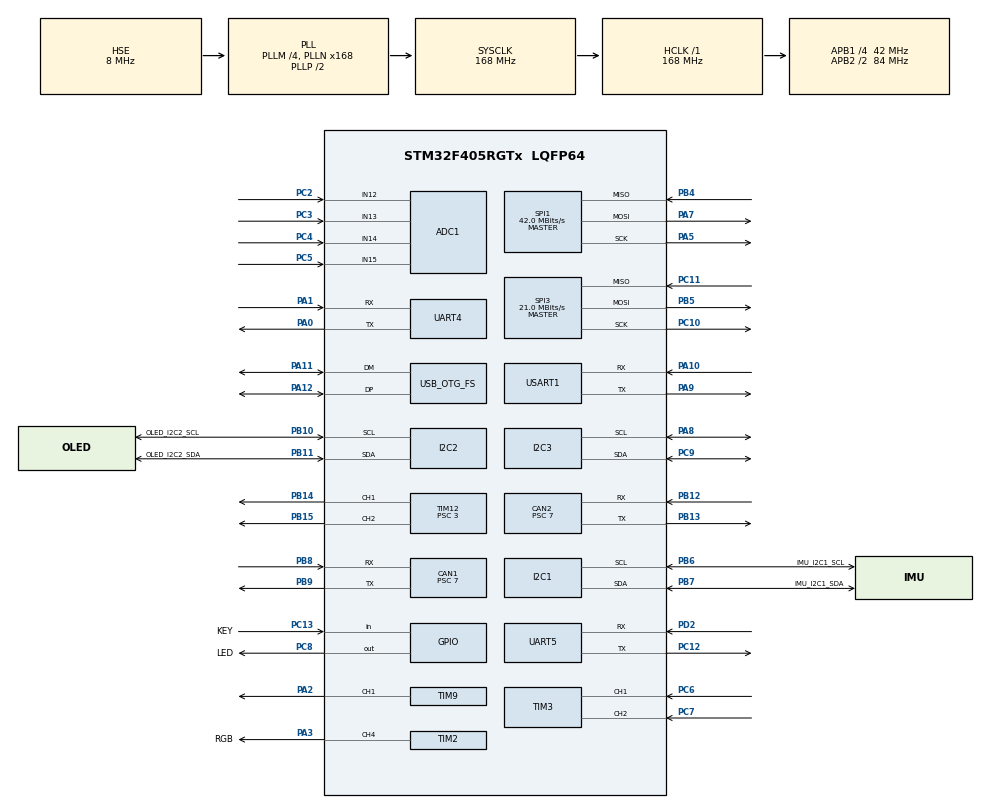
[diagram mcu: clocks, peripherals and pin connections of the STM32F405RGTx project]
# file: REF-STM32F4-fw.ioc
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ADC1.Channel-3\#ChannelRegularConversion=ADC_CHANNEL_12
ADC1.Channel-4\#ChannelRegularConversion=ADC_CHANNEL_13
ADC1.Channel-5\#ChannelRegularConversion=ADC_CHANNEL_14
ADC1.Channel-6\#ChannelRegularConversion=ADC_CHANNEL_15
ADC1.Channel-7\#ChannelRegularConversion=ADC_CHANNEL_TEMPSENSOR
ADC1.Channel-9\#ChannelRegularConversion=ADC_CHANNEL_VREFINT
ADC1.ContinuousConvMode=ENABLE
ADC1.DMAContinuousRequests=ENABLE
ADC1.InjNumberOfConversion=0
ADC1.NbrOfConversion=6
ADC1.NbrOfConversionFlag=1
ADC1.Rank-3\#ChannelRegularConversion=1
ADC1.Rank-4\#ChannelRegularConversion=2
ADC1.Rank-5\#ChannelRegularConversion=3
ADC1.Rank-6\#ChannelRegularConversion=4
ADC1.Rank-7\#ChannelRegularConversion=5
ADC1.Rank-9\#ChannelRegularConversion=6
ADC1.SamplingTime-3\#ChannelRegularConversion=ADC_SAMPLETIME_28CYCLES
ADC1.SamplingTime-4\#ChannelRegularConversion=ADC_SAMPLETIME_28CYCLES
ADC1.SamplingTime-5\#ChannelRegularConversion=ADC_SAMPLETIME_28CYCLES
ADC1.SamplingTime-6\#ChannelRegularConversion=ADC_SAMPLETIME_28CYCLES
ADC1.SamplingTime-7\#ChannelRegularConversion=ADC_SAMPLETIME_28CYCLES
ADC1.SamplingTime-9\#ChannelRegularConversion=ADC_SAMPLETIME_28CYCLES
ADC1.ScanConvMode=ENABLE
ADC1.master=1
CAN1.AWUM=ENABLE
CAN1.BS1=CAN_BS1_3TQ
CAN1.BS2=CAN_BS2_2TQ
CAN1.CalculateBaudRate=1000000
CAN1.CalculateTimeBit=999.99
CAN1.CalculateTimeQuantum=166.66666666666669
CAN1.Prescaler=7
CAN1.TXFP=ENABLE
CAN2.AWUM=ENABLE
CAN2.BS1=CAN_BS1_3TQ
CAN2.BS2=CAN_BS2_2TQ
CAN2.CalculateBaudRate=1000000
CAN2.CalculateTimeBit=999.99
CAN2.CalculateTimeQuantum=166.66666666666669
CAN2.Prescaler=7
Dma.ADC1.2.Direction=DMA_PERIPH_TO_MEMORY
Dma.ADC1.2.FIFOMode=DMA_FIFOMODE_DISABLE
Dma.ADC1.2.Instance=DMA2_Stream0
Dma.ADC1.2.MemDataAlignment=DMA_MDATAALIGN_HALFWORD
Dma.ADC1.2.MemInc=DMA_MINC_ENABLE
Dma.ADC1.2.Mode=DMA_CIRCULAR
Dma.ADC1.2.PeriphDataAlignment=DMA_PDATAALIGN_HALFWORD
Dma.ADC1.2.PeriphInc=DMA_PINC_DISABLE
Dma.ADC1.2.Priority=DMA_PRIORITY_LOW
Dma.Request0=UART4_RX
Dma.Request1=UART4_TX
Dma.Request2=ADC1
Dma.Request3=UART5_RX
Dma.Request4=UART5_TX
Dma.Request5=TIM2_CH2/CH4
Dma.TIM2_CH2/CH4.5.Direction=DMA_MEMORY_TO_PERIPH
Dma.TIM2_CH2/CH4.5.FIFOMode=DMA_FIFOMODE_DISABLE
Dma.TIM2_CH2/CH4.5.Instance=DMA1_Stream6
Dma.TIM2_CH2/CH4.5.MemDataAlignment=DMA_MDATAALIGN_WORD
Dma.TIM2_CH2/CH4.5.MemInc=DMA_MINC_ENABLE
Dma.TIM2_CH2/CH4.5.Mode=DMA_NORMAL
Dma.TIM2_CH2/CH4.5.PeriphDataAlignment=DMA_PDATAALIGN_WORD
Dma.TIM2_CH2/CH4.5.PeriphInc=DMA_PINC_DISABLE
Dma.TIM2_CH2/CH4.5.Priority=DMA_PRIORITY_LOW
Dma.UART4_RX.0.Direction=DMA_PERIPH_TO_MEMORY
Dma.UART4_RX.0.FIFOMode=DMA_FIFOMODE_DISABLE
Dma.UART4_RX.0.Instance=DMA1_Stream2
Dma.UART4_RX.0.MemDataAlignment=DMA_MDATAALIGN_BYTE
Dma.UART4_RX.0.MemInc=DMA_MINC_ENABLE
Dma.UART4_RX.0.Mode=DMA_CIRCULAR
Dma.UART4_RX.0.PeriphDataAlignment=DMA_PDATAALIGN_BYTE
Dma.UART4_RX.0.PeriphInc=DMA_PINC_DISABLE
Dma.UART4_RX.0.Priority=DMA_PRIORITY_LOW
Dma.UART4_TX.1.Direction=DMA_MEMORY_TO_PERIPH
Dma.UART4_TX.1.FIFOMode=DMA_FIFOMODE_DISABLE
Dma.UART4_TX.1.Instance=DMA1_Stream4
Dma.UART4_TX.1.MemDataAlignment=DMA_MDATAALIGN_BYTE
Dma.UART4_TX.1.MemInc=DMA_MINC_ENABLE
Dma.UART4_TX.1.Mode=DMA_NORMAL
Dma.UART4_TX.1.PeriphDataAlignment=DMA_PDATAALIGN_BYTE
Dma.UART4_TX.1.PeriphInc=DMA_PINC_DISABLE
Dma.UART4_TX.1.Priority=DMA_PRIORITY_LOW
Dma.UART5_RX.3.Direction=DMA_PERIPH_TO_MEMORY
Dma.UART5_RX.3.FIFOMode=DMA_FIFOMODE_DISABLE
Dma.UART5_RX.3.Instance=DMA1_Stream0
Dma.UART5_RX.3.MemDataAlignment=DMA_MDATAALIGN_BYTE
Dma.UART5_RX.3.MemInc=DMA_MINC_ENABLE
Dma.UART5_RX.3.Mode=DMA_CIRCULAR
Dma.UART5_RX.3.PeriphDataAlignment=DMA_PDATAALIGN_BYTE
Dma.UART5_RX.3.PeriphInc=DMA_PINC_DISABLE
Dma.UART5_RX.3.Priority=DMA_PRIORITY_LOW
Dma.UART5_TX.4.Direction=DMA_MEMORY_TO_PERIPH
Dma.UART5_TX.4.FIFOMode=DMA_FIFOMODE_DISABLE
Dma.UART5_TX.4.Instance=DMA1_Stream7
Dma.UART5_TX.4.MemDataAlignment=DMA_MDATAALIGN_BYTE
Dma.UART5_TX.4.MemInc=DMA_MINC_ENABLE
Dma.UART5_TX.4.Mode=DMA_NORMAL
Dma.UART5_TX.4.PeriphDataAlignment=DMA_PDATAALIGN_BYTE
Dma.UART5_TX.4.PeriphInc=DMA_PINC_DISABLE
Dma.UART5_TX.4.Priority=DMA_PRIORITY_LOW
FREERTOS.Tasks01=defaultTask,24,500,StartDefaultTask,Default,NULL,Dynamic,NULL,NULL
FREERTOS.configENABLE_FPU=1
FREERTOS.configTOTAL_HEAP_SIZE=65536
FREERTOS.configUSE_APPLICATION_TASK_TAG=0
FREERTOS.configUSE_PREEMPTION=1
FREERTOS.configUSE_TRACE_FACILITY=1
I2C1.I2C_Mode=I2C_Fast
I2C2.I2C_Mode=I2C_Fast
I2C3.I2C_Mode=I2C_Fast
Mcu.Family=STM32F4
Mcu.Name=STM32F405RGTx
Mcu.Package=LQFP64
NVIC.ADC_IRQn=true\:5\:0\:false\:false\:true\:true\:true\:true
NVIC.CAN1_RX0_IRQn=true\:5\:0\:true\:false\:true\:true\:true\:true
NVIC.CAN1_RX1_IRQn=true\:5\:0\:true\:false\:true\:true\:true\:true
NVIC.CAN1_SCE_IRQn=true\:5\:0\:true\:false\:true\:true\:true\:true
NVIC.CAN1_TX_IRQn=true\:5\:0\:true\:false\:true\:true\:true\:true
NVIC.CAN2_RX0_IRQn=true\:5\:0\:true\:false\:true\:true\:true\:true
NVIC.CAN2_RX1_IRQn=true\:5\:0\:true\:false\:true\:true\:true\:true
NVIC.CAN2_SCE_IRQn=true\:5\:0\:true\:false\:true\:true\:true\:true
NVIC.CAN2_TX_IRQn=true\:5\:0\:true\:false\:true\:true\:true\:true
NVIC.DMA1_Stream0_IRQn=true\:6\:0\:true\:false\:true\:true\:false\:true
NVIC.DMA1_Stream2_IRQn=true\:6\:0\:true\:false\:true\:true\:false\:true
NVIC.DMA1_Stream4_IRQn=true\:6\:0\:true\:false\:true\:true\:false\:true
NVIC.DMA1_Stream6_IRQn=true\:5\:0\:false\:false\:true\:true\:false\:true
NVIC.DMA1_Stream7_IRQn=true\:6\:0\:true\:false\:true\:true\:false\:true
NVIC.DMA2_Stream0_IRQn=true\:5\:0\:false\:false\:true\:true\:false\:true
NVIC.OTG_FS_IRQn=true\:6\:0\:true\:false\:true\:true\:false\:true
NVIC.PriorityGroup=NVIC_PRIORITYGROUP_4
NVIC.SPI3_IRQn=true\:5\:0\:false\:false\:true\:true\:true\:true
NVIC.TIM1_TRG_COM_TIM11_IRQn=true\:5\:0\:false\:false\:true\:true\:true\:true
NVIC.TIM1_UP_TIM10_IRQn=true\:5\:0\:false\:false\:true\:true\:true\:true
NVIC.TIM2_IRQn=true\:5\:0\:true\:false\:true\:true\:true\:true
NVIC.TIM3_IRQn=true\:5\:0\:true\:false\:true\:true\:true\:true
NVIC.TIM6_DAC_IRQn=true\:0\:0\:false\:false\:true\:false\:false\:true
NVIC.TIM7_IRQn=true\:5\:0\:false\:false\:true\:true\:true\:true
NVIC.TIM8_TRG_COM_TIM14_IRQn=true\:5\:0\:false\:false\:true\:true\:true\:true
NVIC.TIM8_UP_TIM13_IRQn=true\:5\:0\:false\:false\:true\:true\:true\:true
NVIC.TimeBase=TIM6_DAC_IRQn
NVIC.TimeBaseIP=TIM6
NVIC.UART4_IRQn=true\:6\:0\:true\:false\:true\:true\:true\:true
NVIC.UART5_IRQn=true\:6\:0\:true\:false\:true\:true\:true\:true
PA0-WKUP.Mode=Asynchronous
PA0-WKUP.Signal=UART4_TX
PA1.Mode=Asynchronous
PA1.Signal=UART4_RX
PA10.Mode=Asynchronous
PA10.Signal=USART1_RX
PA11.Mode=Device_Only
PA11.Signal=USB_OTG_FS_DM
PA12.Mode=Device_Only
PA12.Signal=USB_OTG_FS_DP
PA13.Mode=Serial_Wire
PA13.Signal=SYS_JTMS-SWDIO
PA14.Mode=Serial_Wire
PA14.Signal=SYS_JTCK-SWCLK
PA2.Signal=S_TIM9_CH1
PA3.GPIO_Label=RGB
PA3.GPIO_Speed=GPIO_SPEED_FREQ_VERY_HIGH
PA3.Signal=S_TIM2_CH4
PA5.Mode=Full_Duplex_Master
PA5.Signal=SPI1_SCK
PA7.Mode=Full_Duplex_Master
PA7.Signal=SPI1_MOSI
PA8.Mode=I2C
PA8.Signal=I2C3_SCL
PA9.Mode=Asynchronous
PA9.Signal=USART1_TX
PB10.GPIO_Label=OLED_I2C2_SCL
PB10.Mode=I2C
PB10.Signal=I2C2_SCL
PB11.GPIO_Label=OLED_I2C2_SDA
PB11.Mode=I2C
PB11.Signal=I2C2_SDA
PB12.GPIO_PuPd=GPIO_PULLUP
PB12.Mode=CAN_Activate
PB12.Signal=CAN2_RX
PB13.Mode=CAN_Activate
PB13.Signal=CAN2_TX
PB14.Signal=S_TIM12_CH1
PB15.Signal=S_TIM12_CH2
PB4.Mode=Full_Duplex_Master
PB4.Signal=SPI1_MISO
PB5.Mode=Full_Duplex_Master
PB5.Signal=SPI3_MOSI
PB6.GPIO_Label=IMU_I2C1_SCL
PB6.Mode=I2C
PB6.Signal=I2C1_SCL
PB7.GPIO_Label=IMU_I2C1_SDA
PB7.Mode=I2C
PB7.Signal=I2C1_SDA
PB8.GPIO_PuPd=GPIO_PULLUP
PB8.Mode=CAN_Activate
PB8.Signal=CAN1_RX
PB9.Mode=CAN_Activate
PB9.Signal=CAN1_TX
PC10.Mode=Full_Duplex_Master
PC10.Signal=SPI3_SCK
PC11.Mode=Full_Duplex_Master
PC11.Signal=SPI3_MISO
PC12.Mode=Asynchronous
PC12.Signal=UART5_TX
PC13-ANTI_TAMP.GPIO_Label=KEY
PC13-ANTI_TAMP.GPIO_PuPd=GPIO_PULLUP
PC13-ANTI_TAMP.Signal=GPIO_Input
PC2.Signal=ADCx_IN12
PC3.Signal=ADCx_IN13
PC4.Signal=ADCx_IN14
PC5.Signal=ADCx_IN15
PC6.Signal=S_TIM3_CH1
PC7.Signal=S_TIM3_CH2
PC8.GPIO_Label=LED
PC8.GPIO_PuPd=GPIO_NOPULL
PC8.GPIO_Speed=GPIO_SPEED_FREQ_HIGH
PC8.PinState=GPIO_PIN_SET
PC8.Signal=GPIO_Output
PC9.Mode=I2C
PC9.Signal=I2C3_SDA
PD2.Mode=Asynchronous
PD2.Signal=UART5_RX
PH0-OSC_IN.Mode=HSE-External-Oscillator
PH0-OSC_IN.Signal=RCC_OSC_IN
PH1-OSC_OUT.Mode=HSE-External-Oscillator
PH1-OSC_OUT.Signal=RCC_OSC_OUT
ProjectManager.HeapSize=0x3C00
ProjectManager.StackSize=0x800
ProjectManager.TargetToolchain=SW4STM32
RCC.48MHZClocksFreq_Value=48000000
RCC.AHBFreq_Value=168000000
RCC.APB1CLKDivider=RCC_HCLK_DIV4
RCC.APB1Freq_Value=42000000
RCC.APB1TimFreq_Value=84000000
RCC.APB2CLKDivider=RCC_HCLK_DIV2
RCC.APB2Freq_Value=84000000
RCC.APB2TimFreq_Value=168000000
RCC.CortexFreq_Value=168000000
RCC.HCLKFreq_Value=168000000
RCC.HSE_VALUE=8000000
RCC.HSI_VALUE=16000000
RCC.LSE_VALUE=32768
RCC.PLLM=4
RCC.PLLN=168
RCC.PLLQ=7
RCC.SYSCLKFreq_VALUE=168000000
RCC.SYSCLKSource=RCC_SYSCLKSOURCE_PLLCLK
RCC.VCOOutputFreq_Value=336000000
SH.ADCx_IN12.0=ADC1_IN12,IN12
SH.ADCx_IN13.0=ADC1_IN13,IN13
SH.ADCx_IN14.0=ADC1_IN14,IN14
SH.ADCx_IN15.0=ADC1_IN15,IN15
SH.S_TIM12_CH1.0=TIM12_CH1,PWM Generation1 CH1
SH.S_TIM12_CH2.0=TIM12_CH2,PWM Generation2 CH2
SH.S_TIM2_CH4.0=TIM2_CH4,PWM Generation4 CH4
SH.S_TIM3_CH1.0=TIM3_CH1,Encoder_Interface
SH.S_TIM3_CH2.0=TIM3_CH2,Encoder_Interface
SH.S_TIM9_CH1.0=TIM9_CH1,PWM Generation1 CH1
SPI1.CalculateBaudRate=42.0 MBits/s
SPI1.Direction=SPI_DIRECTION_2LINES
SPI1.Mode=SPI_MODE_MASTER
SPI1.VirtualType=VM_MASTER
SPI3.CalculateBaudRate=21.0 MBits/s
SPI3.Direction=SPI_DIRECTION_2LINES
SPI3.Mode=SPI_MODE_MASTER
SPI3.VirtualType=VM_MASTER
TIM10.AutoReloadPreload=TIM_AUTORELOAD_PRELOAD_ENABLE
TIM10.ClockDivision=TIM_CLOCKDIVISION_DIV1
TIM10.Period=9999
TIM10.Prescaler=167
TIM11.Period=9999
TIM11.Prescaler=167
TIM12.Channel-PWM\ Generation1\ CH1=TIM_CHANNEL_1
TIM12.Channel-PWM\ Generation2\ CH2=TIM_CHANNEL_2
TIM12.Period=999
TIM12.Prescaler=3
TIM13.Period=9999
TIM13.Prescaler=83
TIM14.Period=9999
TIM14.Prescaler=83
TIM2.Channel-PWM\ Generation4\ CH4=TIM_CHANNEL_4
TIM2.CounterMode=TIM_COUNTERMODE_UP
TIM2.Period=84-1
TIM3.AutoReloadPreload=TIM_AUTORELOAD_PRELOAD_DISABLE
TIM3.EncoderMode=TIM_ENCODERMODE_TI12
TIM3.IC1Filter=4
TIM3.IC2Filter=4
TIM7.AutoReloadPreload=TIM_AUTORELOAD_PRELOAD_ENABLE
TIM7.Period=9999
TIM7.Prescaler=83
TIM9.Channel-PWM\ Generation1\ CH1=TIM_CHANNEL_1
TIM9.Period=999
TIM9.Prescaler=7
UART4.VirtualMode=Asynchronous
UART5.VirtualMode=Asynchronous
USART1.VirtualMode=VM_ASYNC
USB_DEVICE.CLASS_NAME_FS=CDC
USB_DEVICE.VirtualMode-CDC_FS=Cdc
USB_DEVICE.VirtualModeFS=Cdc_FS
USB_OTG_FS.VirtualMode=Device_Only
VP_ADC1_TempSens_Input.Mode=IN-TempSens
VP_ADC1_Vref_Input.Mode=IN-Vrefint
VP_FREERTOS_VS_CMSIS_V2.Mode=CMSIS_V2
VP_SYS_VS_tim6.Mode=TIM6
VP_TIM10_VS_ClockSourceINT.Mode=Enable_Timer
VP_TIM11_VS_ClockSourceINT.Mode=Enable_Timer
VP_TIM13_VS_ClockSourceINT.Mode=Enable_Timer
VP_TIM14_VS_ClockSourceINT.Mode=Enable_Timer
VP_TIM2_VS_ClockSourceINT.Mode=Internal
VP_TIM7_VS_ClockSourceINT.Mode=Enable_Timer
VP_USB_DEVICE_VS_USB_DEVICE_CDC_FS.Mode=CDC_FS
board=custom

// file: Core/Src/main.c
/* USER CODE BEGIN Header */
/**
  ******************************************************************************
  * @file           : main.c
  * @brief          : Main program body
  ******************************************************************************
  * @attention
  *
  * <h2><center>&copy; Copyright (c) 2021 STMicroelectronics.
  * All rights reserved.</center></h2>
  *
  * This software component is licensed by ST under BSD 3-Clause license,
  * the "License"; You may not use this file except in compliance with the
  * License. You may obtain a copy of the License at:
  *                        opensource.org/licenses/BSD-3-Clause
  *
  ******************************************************************************
  */
/* USER CODE END Header */
#include "main.h"
#include "cmsis_os.h"
#include "adc.h"
#include "can.h"
#include "dma.h"
#include "i2c.h"
#include "spi.h"
#include "tim.h"
#include "usart.h"
#include "usb_device.h"
#include "gpio.h"

/* USER CODE BEGIN PV */
uint64_t serialNumber;
uint64_t myserial = 8;
char serialNumberStr[13];
__attribute__((section(".ccmram"))) uint8_t ucHeap[configTOTAL_HEAP_SIZE];
/* USER CODE END PV */

void SystemClock_Config(void);
void MX_FREERTOS_Init(void);

int main(void)
{
  /* USER CODE BEGIN 1 */

    // This procedure of building a USB serial number should be identical
    // to the way the STM's built-in USB bootloader does it. This means
    // that the device will have the same serial number in normal and DFU mode.
    uint32_t uuid0 = *(uint32_t *) (UID_BASE + 0);
    uint32_t uuid1 = *(uint32_t *) (UID_BASE + 4);
    uint32_t uuid2 = *(uint32_t *) (UID_BASE + 8);
    uint32_t uuid_mixed_part = uuid0 + uuid2;
    serialNumber = ((uint64_t) uuid_mixed_part << 16) | (uint64_t) (uuid1 >> 16);

    uint64_t val = serialNumber;
    for (size_t i = 0; i < 12; ++i)
    {
        serialNumberStr[i] = "0123456789ABCDEF"[(val >> (48 - 4)) & 0xf];
        val <<= 4;
    }
    serialNumberStr[12] = 0;

  /* USER CODE END 1 */

  /* MCU Configuration--------------------------------------------------------*/

  /* Reset of all peripherals, Initializes the Flash interface and the Systick. */
  HAL_Init();

  /* USER CODE BEGIN Init */
    HAL_RCC_DeInit();

  /* USER CODE END Init */

  /* Configure the system clock */
  SystemClock_Config();

  /* Initialize all configured peripherals */
  MX_GPIO_Init();
  MX_DMA_Init();
  MX_I2C1_Init();
  MX_I2C2_Init();
  MX_CAN1_Init();
  MX_CAN2_Init();
  MX_USART1_UART_Init();
  MX_I2C3_Init();
  MX_SPI1_Init();
  MX_SPI3_Init();
  MX_UART4_Init();
  MX_ADC1_Init();
  MX_UART5_Init();
  MX_TIM2_Init();
  MX_TIM3_Init();
  MX_TIM9_Init();
  MX_TIM12_Init();
  MX_TIM10_Init();
  MX_TIM13_Init();
  MX_TIM14_Init();
  MX_TIM7_Init();
  MX_TIM11_Init();

  /* Init scheduler */
  osKernelInitialize();  /* Call init function for freertos objects (in freertos.c) */
  MX_FREERTOS_Init();
  /* Start scheduler */
  osKernelStart();

  /* We should never get here as control is now taken by the scheduler */
  /* Infinite loop */
    while (1)
    {

    }
}

void SystemClock_Config(void)
{
  RCC_OscInitTypeDef RCC_OscInitStruct = {0};
  RCC_ClkInitTypeDef RCC_ClkInitStruct = {0};

  /** Configure the main internal regulator output voltage
  */
  __HAL_RCC_PWR_CLK_ENABLE();
  __HAL_PWR_VOLTAGESCALING_CONFIG(PWR_REGULATOR_VOLTAGE_SCALE1);
  /** Initializes the RCC Oscillators according to the specified parameters
  * in the RCC_OscInitTypeDef structure.
  */
  RCC_OscInitStruct.OscillatorType = RCC_OSCILLATORTYPE_HSE;
  RCC_OscInitStruct.HSEState = RCC_HSE_ON;
  RCC_OscInitStruct.PLL.PLLState = RCC_PLL_ON;
  RCC_OscInitStruct.PLL.PLLSource = RCC_PLLSOURCE_HSE;
  RCC_OscInitStruct.PLL.PLLM = 4;
  RCC_OscInitStruct.PLL.PLLN = 168;
  RCC_OscInitStruct.PLL.PLLP = RCC_PLLP_DIV2;
  RCC_OscInitStruct.PLL.PLLQ = 7;
  if (HAL_RCC_OscConfig(&RCC_OscInitStruct) != HAL_OK)
  {
    Error_Handler();
  }
  /** Initializes the CPU, AHB and APB buses clocks
  */
  RCC_ClkInitStruct.ClockType = RCC_CLOCKTYPE_HCLK|RCC_CLOCKTYPE_SYSCLK
                              |RCC_CLOCKTYPE_PCLK1|RCC_CLOCKTYPE_PCLK2;
  RCC_ClkInitStruct.SYSCLKSource = RCC_SYSCLKSOURCE_PLLCLK;
  RCC_ClkInitStruct.AHBCLKDivider = RCC_SYSCLK_DIV1;
  RCC_ClkInitStruct.APB1CLKDivider = RCC_HCLK_DIV4;
  RCC_ClkInitStruct.APB2CLKDivider = RCC_HCLK_DIV2;

  if (HAL_RCC_ClockConfig(&RCC_ClkInitStruct, FLASH_LATENCY_5) != HAL_OK)
  {
    Error_Handler();
  }
}

/* USER CODE BEGIN 4 */
void OnTimerCallback(TIM_TypeDef *timInstance);
/* USER CODE END 4 */

 /**
  * @brief  Period elapsed callback in non blocking mode
  * @note   This function is called  when TIM6 interrupt took place, inside
  * HAL_TIM_IRQHandler(). It makes a direct call to HAL_IncTick() to increment
  * a global variable "uwTick" used as application time base.
  * @param  htim : TIM handle
  * @retval None
  */
void HAL_TIM_PeriodElapsedCallback(TIM_HandleTypeDef *htim)
{
  if (htim->Instance == TIM6) {
    HAL_IncTick();
  }
  /* USER CODE BEGIN Callback 1 */
  else
  {
      OnTimerCallback(htim->Instance);
  }
  /* USER CODE END Callback 1 */
}

void Error_Handler(void)
{
    __disable_irq();
    while (1)
    {
    }
}

/************************ (C) COPYRIGHT STMicroelectronics *****END OF FILE****/
